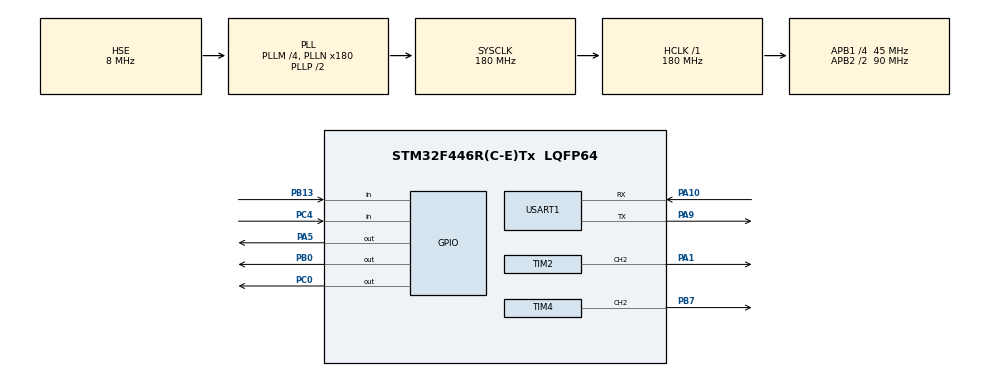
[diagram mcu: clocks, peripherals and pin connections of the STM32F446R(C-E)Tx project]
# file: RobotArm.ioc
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Mcu.Family=STM32F4
Mcu.Name=STM32F446R(C-E)Tx
Mcu.Package=LQFP64
NVIC.PriorityGroup=NVIC_PRIORITYGROUP_0
NVIC.TIM2_IRQn=true\:0\:0\:false\:false\:true\:true\:true\:true
PA1.Signal=S_TIM2_CH2
PA10.Mode=Asynchronous
PA10.Signal=USART1_RX
PA13.Mode=Serial_Wire
PA13.Signal=SYS_JTMS-SWDIO
PA14.Mode=Serial_Wire
PA14.Signal=SYS_JTCK-SWCLK
PA5.Signal=GPIO_Output
PA5.TagName=LD1
PA9.Mode=Asynchronous
PA9.Signal=USART1_TX
PB0.Signal=GPIO_Output
PB13.Signal=GPIO_Input
PB7.Signal=S_TIM4_CH2
PC0.Signal=GPIO_Output
PC4.Signal=GPIO_Input
PH0-OSC_IN.Mode=HSE-External-Clock-Source
PH0-OSC_IN.Signal=RCC_OSC_IN
PH1-OSC_OUT.Mode=HSE-External-Clock-Source
PH1-OSC_OUT.Signal=RCC_OSC_OUT
ProjectManager.HeapSize=0x200
ProjectManager.StackSize=0x400
ProjectManager.TargetToolchain=STM32CubeIDE
RCC.AHBFreq_Value=180000000
RCC.APB1CLKDivider=RCC_HCLK_DIV4
RCC.APB1Freq_Value=45000000
RCC.APB1TimFreq_Value=90000000
RCC.APB2CLKDivider=RCC_HCLK_DIV2
RCC.APB2Freq_Value=90000000
RCC.APB2TimFreq_Value=180000000
RCC.CortexFreq_Value=180000000
RCC.FLatency-AdvancedSettings=FLASH_LATENCY_5
RCC.HCLKFreq_Value=180000000
RCC.HSE_VALUE=8000000
RCC.HSI_VALUE=16000000
RCC.LSE_VALUE=32768
RCC.PLLM=4
RCC.PLLN=180
RCC.PLLSourceVirtual=RCC_PLLSOURCE_HSE
RCC.SYSCLKFreq_VALUE=180000000
RCC.SYSCLKSource=RCC_SYSCLKSOURCE_PLLCLK
RCC.USBFreq_Value=180000000
RCC.VCOOutputFreq_Value=360000000
SH.S_TIM2_CH2.0=TIM2_CH2,PWM Generation2 CH2
SH.S_TIM4_CH2.0=TIM4_CH2,PWM Generation2 CH2
TIM2.Channel-PWM\ Generation2\ CH2=TIM_CHANNEL_2
TIM2.Period=1000-1
TIM2.Prescaler=90-1
TIM2.Pulse-PWM\ Generation2\ CH2=50
TIM2.TIM_MasterOutputTrigger=TIM_TRGO_UPDATE
TIM2.TIM_MasterSlaveMode=TIM_MASTERSLAVEMODE_ENABLE
TIM4.Channel-PWM\ Generation2\ CH2=TIM_CHANNEL_2
TIM4.Period=9000-1
TIM4.Prescaler=200-1
USART1.VirtualMode=VM_ASYNC
VP_TIM2_VS_ClockSourceINT.Mode=Internal
VP_TIM4_VS_ClockSourceINT.Mode=Internal
VP_TIM5_VS_ClockSourceITR.Mode=TriggerSource_ITR1
VP_TIM5_VS_ControllerModeClock.Mode=Clock Mode
board=NUCLEO-F446RE

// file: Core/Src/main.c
/* USER CODE BEGIN Header */
/**
  ******************************************************************************
  * @file           : main.c
  * @brief          : Main program body
  ******************************************************************************
  * @attention
  *
  * Copyright (c) 2026 STMicroelectronics.
  * All rights reserved.
  *
  * This software is licensed under terms that can be found in the LICENSE file
  * in the root directory of this software component.
  * If no LICENSE file comes with this software, it is provided AS-IS.
  *
  ******************************************************************************
  */
/* USER CODE END Header */
#include "main.h"

/* USER CODE BEGIN Includes */
#include <math.h>
/* USER CODE END Includes */

/* USER CODE BEGIN PD */
// Hardware configuration
#define NUM_JOINTS          6
#define NUM_LIMIT_SWITCHES  6
#define NUM_HALL_SENSORS    6

// Shared EN pin
#define EN_PORT   GPIOB
#define EN_PIN    GPIO_PIN_0

// DIR/STEP pins
#define JOINT0_DIR_PORT   GPIOA             // PLACEHOLDER
#define JOINT0_DIR_PIN    GPIO_PIN_0        // PLACEHOLDER
#define JOINT0_STEP_TIM   htim5             // PLACEHOLDER - TIM3 fully used by joints 1-4
#define JOINT0_STEP_CH    TIM_CHANNEL_1     // PLACEHOLDER

#define JOINT1_DIR_PORT   GPIOA             // PLACEHOLDER (TMC5160)
#define JOINT1_DIR_PIN    GPIO_PIN_0        // PLACEHOLDER
#define JOINT1_STEP_TIM   htim3             // PLACEHOLDER - not generated in CubeMX yet
#define JOINT1_STEP_CH    TIM_CHANNEL_1     // PLACEHOLDER

#define JOINT2_DIR_PORT   GPIOA             // PLACEHOLDER
#define JOINT2_DIR_PIN    GPIO_PIN_0        // PLACEHOLDER
#define JOINT2_STEP_TIM   htim3             // PLACEHOLDER
#define JOINT2_STEP_CH    TIM_CHANNEL_2     // PLACEHOLDER

#define JOINT3_DIR_PORT   GPIOA             // PLACEHOLDER
#define JOINT3_DIR_PIN    GPIO_PIN_0        // PLACEHOLDER
#define JOINT3_STEP_TIM   htim3             // PLACEHOLDER
#define JOINT3_STEP_CH    TIM_CHANNEL_3     // PLACEHOLDER

#define JOINT4_DIR_PORT   GPIOA             // PLACEHOLDER
#define JOINT4_DIR_PIN    GPIO_PIN_0        // PLACEHOLDER
#define JOINT4_STEP_TIM   htim3             // PLACEHOLDER
#define JOINT4_STEP_CH    TIM_CHANNEL_4     // PLACEHOLDER

#define JOINT5_DIR_PORT   GPIOC
#define JOINT5_DIR_PIN    GPIO_PIN_0
#define JOINT5_STEP_TIM   htim2
#define JOINT5_STEP_CH    TIM_CHANNEL_2

// UART for TMC2209
#define TMC_UART1_TX_PORT  GPIOA
#define TMC_UART1_TX_PIN   GPIO_PIN_9
#define TMC_UART1_RX_PORT  GPIOA
#define TMC_UART1_RX_PIN   GPIO_PIN_10

#define TMC_UART2_TX_PORT  GPIOA            // PLACEHOLDER - not generated in CubeMX yet
#define TMC_UART2_TX_PIN   GPIO_PIN_0       // PLACEHOLDER
#define TMC_UART2_RX_PORT  GPIOA            // PLACEHOLDER
#define TMC_UART2_RX_PIN   GPIO_PIN_0       // PLACEHOLDER

// UART Bus and Slave Addresses
#define JOINT0_UART_BUS     2
#define JOINT0_SLAVE_ADDR   0

#define JOINT2_UART_BUS     1                // PLACEHOLDER
#define JOINT2_SLAVE_ADDR   0                // PLACEHOLDER

#define JOINT3_UART_BUS     1                // PLACEHOLDER
#define JOINT3_SLAVE_ADDR   1                // PLACEHOLDER

#define JOINT4_UART_BUS     1                // PLACEHOLDER
#define JOINT4_SLAVE_ADDR   2                // PLACEHOLDER

#define JOINT5_UART_BUS     1                // PLACEHOLDER
#define JOINT5_SLAVE_ADDR   3                // PLACEHOLDER

// SPI for TMC5160
#define TMC5160_SPI_MOSI_PORT  GPIOA        // PLACEHOLDER - not generated in CubeMX yet
#define TMC5160_SPI_MOSI_PIN   GPIO_PIN_0   // PLACEHOLDER
#define TMC5160_SPI_MISO_PORT  GPIOA        // PLACEHOLDER
#define TMC5160_SPI_MISO_PIN   GPIO_PIN_0   // PLACEHOLDER
#define TMC5160_SPI_SCK_PORT   GPIOA        // PLACEHOLDER
#define TMC5160_SPI_SCK_PIN    GPIO_PIN_0   // PLACEHOLDER
#define TMC5160_SPI_CS_PORT    GPIOA        // PLACEHOLDER
#define TMC5160_SPI_CS_PIN     GPIO_PIN_0   // PLACEHOLDER

// Run current per joint
#define JOINT0_CURRENT_A    1.2f             // CONFIRMED
#define JOINT1_CURRENT_A    1.2f             // PLACEHOLDER (TMC5160)
#define JOINT2_CURRENT_A    1.2f             // PLACEHOLDER
#define JOINT3_CURRENT_A    1.2f             // PLACEHOLDER
#define JOINT4_CURRENT_A    1.2f             // PLACEHOLDER
#define JOINT5_CURRENT_A    1.2f             // PLACEHOLDER

// Interrupt
// Each of these 6 needs a distinct pin NUMBER (0-15), not just a distinct
// port, or they'll collide on the same interrupt line.
#define JOINT1_LIMIT_MIN_PORT   GPIOA        // PLACEHOLDER
#define JOINT1_LIMIT_MIN_PIN    GPIO_PIN_0   // PLACEHOLDER
#define JOINT1_LIMIT_MAX_PORT   GPIOA        // PLACEHOLDER
#define JOINT1_LIMIT_MAX_PIN    GPIO_PIN_0   // PLACEHOLDER

#define JOINT2_LIMIT_MIN_PORT   GPIOA        // PLACEHOLDER
#define JOINT2_LIMIT_MIN_PIN    GPIO_PIN_0   // PLACEHOLDER
#define JOINT2_LIMIT_MAX_PORT   GPIOA        // PLACEHOLDER
#define JOINT2_LIMIT_MAX_PIN    GPIO_PIN_0   // PLACEHOLDER

#define JOINT4_LIMIT_MIN_PORT   GPIOA        // PLACEHOLDER
#define JOINT4_LIMIT_MIN_PIN    GPIO_PIN_0   // PLACEHOLDER
#define JOINT4_LIMIT_MAX_PORT   GPIOC        // your previously-tested pin (PC4) is one
#define JOINT4_LIMIT_MAX_PIN    GPIO_PIN_4   // of these six - slot it into whichever end it actually is

// Hall effect sensors
#define JOINT0_HALL_PORT   GPIOA             // PLACEHOLDER
#define JOINT0_HALL_PIN    GPIO_PIN_0        // PLACEHOLDER
#define JOINT1_HALL_PORT   GPIOA             // PLACEHOLDER
#define JOINT1_HALL_PIN    GPIO_PIN_0        // PLACEHOLDER
#define JOINT2_HALL_PORT   GPIOA             // PLACEHOLDER
#define JOINT2_HALL_PIN    GPIO_PIN_0        // PLACEHOLDER
#define JOINT3_HALL_PORT   GPIOA             // PLACEHOLDER
#define JOINT3_HALL_PIN    GPIO_PIN_0        // PLACEHOLDER
#define JOINT4_HALL_PORT   GPIOA             // PLACEHOLDER
#define JOINT4_HALL_PIN    GPIO_PIN_0        // PLACEHOLDER
#define JOINT5_HALL_PORT   GPIOB             // your previously-tested pin (PB13)
#define JOINT5_HALL_PIN    GPIO_PIN_13

// Joint gear ratios
#define JOINT0_GEAR_RATIO   200.0f/30.0f
#define JOINT1_GEAR_RATIO   25.0f
#define JOINT2_GEAR_RATIO   ((16.0f*6.0f) / (14.0f*2.0f)) * ((16.0f*6.0f) / 16.0f)
#define JOINT3_GEAR_RATIO   5.5f
#define JOINT4_GEAR_RATIO   4.0f
#define JOINT5_GEAR_RATIO   1.0f

// Joint microsteps
#define JOINT0_MICROSTEPS   8
#define JOINT1_MICROSTEPS   256
#define JOINT2_MICROSTEPS   256
#define JOINT3_MICROSTEPS   256
#define JOINT4_MICROSTEPS   256
#define JOINT5_MICROSTEPS   8

// Homing config
#define HOMING_SPEED_DEG_PER_SEC   225.0f
#define JOINT0_HOMING_MAX_DEG   360.0f
#define JOINT1_HOMING_MAX_DEG   270.0f
#define JOINT2_HOMING_MAX_DEG   300.0f
#define JOINT3_HOMING_MAX_DEG   360.0f
#define JOINT4_HOMING_MAX_DEG   300.0f
#define JOINT5_HOMING_MAX_DEG   360.0f

/* USER CODE END PD */

TIM_HandleTypeDef htim2;
TIM_HandleTypeDef htim4;
TIM_HandleTypeDef htim5;

UART_HandleTypeDef huart1;

void SystemClock_Config(void);
static void MX_GPIO_Init(void);
static void MX_TIM4_Init(void);
static void MX_TIM2_Init(void);
static void MX_USART1_UART_Init(void);
static void MX_TIM5_Init(void);

/* USER CODE BEGIN 0 */
// SERVO BEGIN
void Set_Servo_Angle(TIM_HandleTypeDef *htim, uint32_t channel, uint8_t angle){
    uint32_t pulse_length = 225 + ((uint32_t)angle * (1125 - 225)) / 180;
    __HAL_TIM_SET_COMPARE(htim, channel, pulse_length);
}
// SERVO END

// JOINT STEP/DIR/EN BEGIN
#define MOTOR_FULL_STEPS_PER_REV  200.0f   // 1.8deg/step across the board for the NEMA 17s and the 23

typedef struct {
    GPIO_TypeDef      *dir_port;
    uint16_t           dir_pin;
    TIM_HandleTypeDef *step_tim;   // NULL until this joint's timer is generated in CubeMX
    uint32_t           step_ch;
    TIM_HandleTypeDef *count_tim;
    float              gear_ratio;
    uint16_t           microsteps;
    uint8_t            configured; // 1 = real hardware, 0 = placeholder (calls no-op)
} JointConfig;

static JointConfig joint_cfg[NUM_JOINTS] = {
    // Joint 0
    { JOINT0_DIR_PORT, JOINT0_DIR_PIN, NULL, JOINT0_STEP_CH, NULL,
      JOINT0_GEAR_RATIO, JOINT0_MICROSTEPS, 0 },
    // Joint 1 (TMC5160)
    { JOINT1_DIR_PORT, JOINT1_DIR_PIN, NULL, JOINT1_STEP_CH, NULL,
      JOINT1_GEAR_RATIO, JOINT1_MICROSTEPS, 0 },
    // Joint 2
    { JOINT2_DIR_PORT, JOINT2_DIR_PIN, NULL, JOINT2_STEP_CH, NULL,
      JOINT2_GEAR_RATIO, JOINT2_MICROSTEPS, 0 },
    // Joint 3
    { JOINT3_DIR_PORT, JOINT3_DIR_PIN, NULL, JOINT3_STEP_CH, NULL,
      JOINT3_GEAR_RATIO, JOINT3_MICROSTEPS, 0 },
    // Joint 4
    { JOINT4_DIR_PORT, JOINT4_DIR_PIN, NULL, JOINT4_STEP_CH, NULL,
      JOINT4_GEAR_RATIO, JOINT4_MICROSTEPS, 0 },
    { JOINT5_DIR_PORT, JOINT5_DIR_PIN, &JOINT5_STEP_TIM, JOINT5_STEP_CH, &htim5,
      JOINT5_GEAR_RATIO, JOINT5_MICROSTEPS, 1 },
};
static volatile int32_t joint_position[NUM_JOINTS] = {0};
static volatile int8_t  joint_dir_sign[NUM_JOINTS] = {0};

void Joint_Enable(uint8_t enable){
	// Active-low EN
    HAL_GPIO_WritePin(EN_PORT, EN_PIN, enable ? GPIO_PIN_RESET : GPIO_PIN_SET);
}

static void Joint_ReconcilePosition(uint8_t joint){
    if (joint_cfg[joint].count_tim == NULL){
    	return; // counting timer not generated yet
    }
    uint32_t counted = __HAL_TIM_GET_COUNTER(joint_cfg[joint].count_tim);
    joint_position[joint] += joint_dir_sign[joint] * (int32_t)counted;
    __HAL_TIM_SET_COUNTER(joint_cfg[joint].count_tim, 0);
}

int32_t Joint_GetPosition(uint8_t joint){
    if (joint >= NUM_JOINTS || joint_cfg[joint].count_tim == NULL){
    	return joint_position[joint];
    }
    uint32_t counted = __HAL_TIM_GET_COUNTER(joint_cfg[joint].count_tim);
    return joint_position[joint] + joint_dir_sign[joint] * (int32_t)counted;
}

void Joint_SetDirection(uint8_t joint, uint8_t dir){
	// REMEMBER TO GET RID OF THE !joint_cfg[joint[.configure LATER WHEN EVERYTHING IS PROPERLY CONFIGURED (waste of calcs)!!!!!!!!!!!!!!!!!!!!!!!!!!!!!!!!!!!!!!
    if (joint >= NUM_JOINTS || !joint_cfg[joint].configured){
    	return;
    }

    Joint_ReconcilePosition(joint); // fold in whatever was counted under the OLD direction first
    joint_dir_sign[joint] = dir ? 1 : -1;
    HAL_GPIO_WritePin(joint_cfg[joint].dir_port, joint_cfg[joint].dir_pin, dir ? GPIO_PIN_SET : GPIO_PIN_RESET);
}

void Joint_Run(uint8_t joint, uint8_t run){
    if (joint >= NUM_JOINTS || !joint_cfg[joint].configured){
    	return;
    }

    if (run){
    	HAL_TIM_PWM_Start(joint_cfg[joint].step_tim, joint_cfg[joint].step_ch);
    } else{
    	Joint_ReconcilePosition(joint); // fold in this run's steps before stopping
    	HAL_TIM_PWM_Stop(joint_cfg[joint].step_tim, joint_cfg[joint].step_ch);
    }
}

// Sets STEP pulse frequency directly.
void Joint_SetStepFrequency(uint8_t joint, uint32_t step_freq_hz){
    if (joint >= NUM_JOINTS || !joint_cfg[joint].configured || step_freq_hz == 0){
    	return;
    }

    uint32_t period = (1000000U / step_freq_hz);
    if (period < 2){
    	period = 2; // keep a valid duty cycle
    }

    __HAL_TIM_SET_AUTORELOAD(joint_cfg[joint].step_tim, period - 1);
    __HAL_TIM_SET_COMPARE(joint_cfg[joint].step_tim, joint_cfg[joint].step_ch, period / 2);
}

// Drives a joint at a given OUTPUT SHAFT speed (deg/s, sign sets direction)
void Joint_MoveAtSpeed(uint8_t joint, float output_deg_per_sec){
    if (joint >= NUM_JOINTS || !joint_cfg[joint].configured){
    	return;
    }

    // Stop the joint
    if (output_deg_per_sec == 0.0f){
        Joint_Run(joint, 0);
        return;
    }

    // Joint specific speed
    float steps_per_output_rev = MOTOR_FULL_STEPS_PER_REV * (float)joint_cfg[joint].microsteps * joint_cfg[joint].gear_ratio;
    float output_rev_per_sec = fabsf(output_deg_per_sec) / 360.0f;
    uint32_t step_freq_hz = (uint32_t)(output_rev_per_sec * steps_per_output_rev);

    Joint_SetDirection(joint, output_deg_per_sec > 0 ? 1 : 0);
    Joint_SetStepFrequency(joint, step_freq_hz);
    Joint_Run(joint, 1);
}
// JOINT STEP/DIR/EN END

// LIMIT SWITCHES START

static volatile uint8_t joint_limit_hit[NUM_JOINTS] = {0};
static volatile uint8_t homing_in_progress = 0; // suppresses fault-event reporting during homing search

// Simple event queue for the host. TODO: once the serial command protocol exists,
// drain this from the main loop (or a serial task) and send a LIMIT_HIT packet for
// each entry - for now this just records the fact so nothing is silently lost.
typedef struct {
    uint8_t joint;
    uint8_t which; // 0 = MIN switch, 1 = MAX switch
} LimitEvent_t;

#define LIMIT_EVENT_QUEUE_LEN 8
static LimitEvent_t limit_event_queue[LIMIT_EVENT_QUEUE_LEN];
static volatile uint8_t limit_event_head = 0, limit_event_tail = 0;

static void LimitEvent_Enqueue(uint8_t joint, uint8_t which){
    uint8_t next = (limit_event_head + 1) % LIMIT_EVENT_QUEUE_LEN;
    if (next == limit_event_tail){
    	return; // full - drop rather than overwrite (shouldn't happen in practice)
    }
    limit_event_queue[limit_event_head].joint = joint;
    limit_event_queue[limit_event_head].which = which;
    limit_event_head = next;
}

void HAL_GPIO_EXTI_Callback(uint16_t GPIO_Pin){
    static const struct { uint16_t pin; uint8_t joint; uint8_t which; } limit_map[] = {
        { JOINT1_LIMIT_MIN_PIN, 1, 0 },
        { JOINT1_LIMIT_MAX_PIN, 1, 1 },
        { JOINT2_LIMIT_MIN_PIN, 2, 0 },
        { JOINT2_LIMIT_MAX_PIN, 2, 1 },
        { JOINT4_LIMIT_MIN_PIN, 4, 0 },
        { JOINT4_LIMIT_MAX_PIN, 4, 1 },
    };

    for (uint8_t i = 0; i < sizeof(limit_map) / sizeof(limit_map[0]); i++){
        if (limit_map[i].pin == GPIO_Pin){
            uint8_t joint = limit_map[i].joint;
            Joint_Run(joint, 0); // stop immediately, homing or not
            joint_limit_hit[joint] = 1;

            if (!homing_in_progress){
                LimitEvent_Enqueue(joint, limit_map[i].which); // unexpected - flag for the host, don't auto-recover
            }
            return;
        }
    }
}
// LIMIT SWITCHES END

// HOMING START
static GPIO_TypeDef *joint_hall_port[NUM_JOINTS] = {
    JOINT0_HALL_PORT, JOINT1_HALL_PORT, JOINT2_HALL_PORT,
    JOINT3_HALL_PORT, JOINT4_HALL_PORT, JOINT5_HALL_PORT
};
static uint16_t joint_hall_pin[NUM_JOINTS] = {
    JOINT0_HALL_PIN, JOINT1_HALL_PIN, JOINT2_HALL_PIN,
    JOINT3_HALL_PIN, JOINT4_HALL_PIN, JOINT5_HALL_PIN
};
static const float joint_homing_max_deg[NUM_JOINTS] = {
    JOINT0_HOMING_MAX_DEG, JOINT1_HOMING_MAX_DEG, JOINT2_HOMING_MAX_DEG,
    JOINT3_HOMING_MAX_DEG, JOINT4_HOMING_MAX_DEG, JOINT5_HOMING_MAX_DEG
};

static uint32_t Joint_DegToSteps(uint8_t joint, float deg){
    float steps_per_output_rev = MOTOR_FULL_STEPS_PER_REV
                                * (float)joint_cfg[joint].microsteps
                                * joint_cfg[joint].gear_ratio;
    return (uint32_t)(fabsf(deg) / 360.0f * steps_per_output_rev);
}

// Converts an OUTPUT-SHAFT speed (deg/s) into that joint's own raw STEP frequency,
// accounting for its individual gear ratio and microsteps - same formula
// Joint_MoveAtSpeed uses, so every joint moves at a comparable real-world speed
// for a given deg/s target regardless of how different their gear ratios are.
static uint32_t Joint_SpeedToFreq(uint8_t joint, float deg_per_sec){
    float steps_per_output_rev = MOTOR_FULL_STEPS_PER_REV
                                * (float)joint_cfg[joint].microsteps
                                * joint_cfg[joint].gear_ratio;
    return (uint32_t)(fabsf(deg_per_sec) / 360.0f * steps_per_output_rev);
}

// Quick ramp-down before stopping - NOT a full trapezoidal profile (that's
// deferred, separate work), just enough to avoid an instantaneous full-speed
// cut, which was leaving real kinetic energy in the rotor to snap/ring back
// against the driver's holding torque. Doesn't affect homing accuracy at all -
// this only runs AFTER the magnet's midpoint has already been captured.
static void Joint_DecelStop(uint8_t joint, uint32_t from_freq){
    // Shorter dwell per stage than before (2ms vs 20ms) - the previous version
    // likely lingered long enough at one intermediate speed to sit right in the
    // ~300Hz resonance band and build up vibration there instead of avoiding it.
    // A fast sweep-through spends far less time at any one frequency.
    uint32_t freq = from_freq;
    for (uint8_t i = 0; i < 8 && freq > 50; i++){
        freq = (freq * 3) / 4; // smaller, more numerous steps than before
        Joint_SetStepFrequency(joint, freq);
        HAL_Delay(2);
    }
    Joint_Run(joint, 0);
}

void Joint_MoveToPosition(uint8_t joint, int32_t target_pos, float speed_deg_per_sec){
    if (joint >= NUM_JOINTS || !joint_cfg[joint].configured) return;

    int32_t current = Joint_GetPosition(joint);
    int32_t delta = target_pos - current;
    if (delta == 0) return;

    uint8_t dir = (delta > 0) ? 1 : 0;
    uint32_t freq = Joint_SpeedToFreq(joint, speed_deg_per_sec);

    Joint_SetDirection(joint, dir);
    Joint_SetStepFrequency(joint, freq);
    Joint_Run(joint, 1);

    while (1){
        if (joint_limit_hit[joint]){
            joint_limit_hit[joint] = 0;
            Joint_Run(joint, 0);
            return; // stopped early - hit a limit before reaching target
        }
        int32_t remaining = target_pos - Joint_GetPosition(joint);
        if ((dir == 1 && remaining <= 0) || (dir == 0 && remaining >= 0)){
            break; // reached or passed target
        }
    }
    Joint_DecelStop(joint, freq);
}

uint8_t Homing_Joint(uint8_t joint, int8_t search_dir){
    if (joint >= NUM_JOINTS || !joint_cfg[joint].configured){
    	return 0;
    }

    // Hall reading is corrupted by heavy motor-generated EMI (measured ~200k
    // spurious transitions/sec while running) - a rolling vote/integrator filter
    // is used instead of a simple "hold steady for Xms" debounce, since even
    // genuine magnet-present dwell time still has some noise mixed in, and that
    // residual noise kept resetting a plain debounce timer before it could ever
    // confirm. Every sample nudges a counter toward whichever state it reads;
    // only trust a state once the counter has swung decisively that way (a
    // hysteresis band between HIGH/LOW avoids chatter right at the boundary).
    // This resolves in well under a millisecond given how fast this loop runs,
    // so it isn't sensitive to step frequency the way a fixed-time debounce was -
    // PLACEHOLDERS below, widen the MAX/spread for more noise immunity if needed.
    #define HALL_FILTER_MAX   200
    #define HALL_FILTER_HIGH  180
    #define HALL_FILTER_LOW   20

    uint32_t max_steps = Joint_DegToSteps(joint, joint_homing_max_deg[joint]);
    uint32_t homing_freq = Joint_SpeedToFreq(joint, HOMING_SPEED_DEG_PER_SEC);
    joint_limit_hit[joint] = 0;
    homing_in_progress = 1;

    int8_t dir = search_dir;

    for (uint8_t attempt = 0; attempt < 2; attempt++){
        int32_t start_pos = Joint_GetPosition(joint);

        // seed the filter from an initial read so we don't register a spurious
        // "just found it" transition right at the start of the search
        uint8_t initial_read = HAL_GPIO_ReadPin(joint_hall_port[joint], joint_hall_pin[joint]);
        int32_t hall_filter = (initial_read == GPIO_PIN_RESET) ? HALL_FILTER_MAX : 0;
        uint8_t hall_confirmed_present = (initial_read == GPIO_PIN_RESET) ? 1 : 0;
        uint8_t hall_prev_confirmed = hall_confirmed_present;

        int32_t rise_pos = 0, fall_pos = 0;
        uint8_t saw_rise = 0, saw_fall = 0;

        Joint_SetDirection(joint, dir > 0 ? 1 : 0);
        Joint_SetStepFrequency(joint, homing_freq);
        Joint_Run(joint, 1);

        while (1){
            if (joint_limit_hit[joint]){
                joint_limit_hit[joint] = 0;
                break; // hit a limit before finding the magnet on this pass
            }

            // GPIO_PIN_RESET = magnet present - each sample nudges the vote counter
            uint8_t hall_now = HAL_GPIO_ReadPin(joint_hall_port[joint], joint_hall_pin[joint]);
            if (hall_now == GPIO_PIN_RESET){
                if (hall_filter < HALL_FILTER_MAX) hall_filter++;
            } else {
                if (hall_filter > 0) hall_filter--;
            }

            if (hall_filter >= HALL_FILTER_HIGH) hall_confirmed_present = 1;
            else if (hall_filter <= HALL_FILTER_LOW) hall_confirmed_present = 0;
            // else: stays whatever it was last - genuinely undecided zone

            if (hall_confirmed_present != hall_prev_confirmed){
                if (!saw_rise && hall_confirmed_present){
                    rise_pos = Joint_GetPosition(joint);
                    saw_rise = 1;
                } else if (saw_rise && !saw_fall && !hall_confirmed_present){
                    fall_pos = Joint_GetPosition(joint);
                    saw_fall = 1;
                    Joint_DecelStop(joint, homing_freq); // gentle stop instead of an instant cut
                    hall_prev_confirmed = hall_confirmed_present;
                    break; // found both edges
                }
                hall_prev_confirmed = hall_confirmed_present;
            }

            int32_t traveled = Joint_GetPosition(joint) - start_pos;
            if ((uint32_t)(traveled < 0 ? -traveled : traveled) > max_steps){
                Joint_Run(joint, 0);
                homing_in_progress = 0;
                return 0; // no magnet found within the expected travel range - real fault
            }
        }

        if (saw_fall){
            int32_t midpoint = (rise_pos + fall_pos) / 2;
            joint_position[joint] -= midpoint; // Joint_Run(joint,0) above already reconciled the
                                                // hardware count into joint_position, so this is
                                                // a plain baseline shift, not a live read
            homing_in_progress = 0;
            return 1;
        }

        dir = -dir; // limit hit before the magnet - try the opposite direction once
    }

    homing_in_progress = 0;
    return 0; // searched both directions, never found the magnet
}

static int32_t Joint_DegToSignedSteps(uint8_t joint, float deg){
    float steps_per_output_rev = MOTOR_FULL_STEPS_PER_REV
                                * (float)joint_cfg[joint].microsteps
                                * joint_cfg[joint].gear_ratio;
    return (int32_t)(deg / 360.0f * steps_per_output_rev);
}

// Homing order and initial search direction per joint.
static const uint8_t homing_order[NUM_JOINTS]      = {0, 1, 2, 3, 4, 5};
static const int8_t  homing_search_dir[NUM_JOINTS] = {1, 1, 1, 1, 1, 1};
static const float homing_clearance_deg[NUM_JOINTS] = {0, 0, 0, 0, 0, 0};

// Ready/idle stance to move to once every joint is homed, in output-shaft degrees
// from each joint's now-zeroed home position.
static const float idle_stance_deg[NUM_JOINTS] = {0, 0, 0, 0, 0, 0};

uint8_t Robot_HomeAll(void){
    for (uint8_t i = 0; i < NUM_JOINTS; i++){
        uint8_t joint = homing_order[i];
        if (!joint_cfg[joint].configured){
        	continue;
        }

        if (!Homing_Joint(joint, homing_search_dir[joint])){
            return 0; // one joint failed - stop the whole sequence rather than guess
        }

        if (homing_clearance_deg[joint] != 0.0f){
            int32_t clearance_target = Joint_DegToSignedSteps(joint, homing_clearance_deg[joint]);
            Joint_MoveToPosition(joint, clearance_target, HOMING_SPEED_DEG_PER_SEC);
        }
    }

    // All joints homed and clear of each other - now move everyone to the final stance
    for (uint8_t j = 0; j < NUM_JOINTS; j++){
        if (!joint_cfg[j].configured || idle_stance_deg[j] == 0.0f){
        	continue;
        }
        int32_t idle_target = Joint_DegToSignedSteps(j, idle_stance_deg[j]);
        Joint_MoveToPosition(j, idle_target, HOMING_SPEED_DEG_PER_SEC);
    }

    return 1;
}
// HOMING END

// TMC2209 UART
static UART_HandleTypeDef *tmc_uart_bus[3] = { NULL, &huart1, NULL }; // [1]=bus1, [2]=bus2, [0] unused
#define TMC_RSENSE      0.11f
#define TMC_VSENSE_BIT  0        // 0 = Vfs 0.325V (normal), 1 = Vfs 0.180V (more res, less headroom)

#define TMC_REG_GCONF      0x00
#define TMC_REG_IHOLD_IRUN 0x10
#define TMC_REG_CHOPCONF   0x6C

typedef struct {
    uint8_t bus;         // 1 or 2 (index into tmc_uart_bus), 0 = not UART-driven (TMC5160)
    uint8_t slave_addr;  // 0-3, set via that driver's MS1/MS2
    float   current_a;
    uint8_t configured;  // 1 = physically wired right now, DELETE THIS LATER ON ASWELLL!!!!!!!!!!!!!!!!!!!!!!!!!!!!!!!!!!!!!!!!!!!!!!!!!
} TMC2209_JointConfig;

static TMC2209_JointConfig tmc2209_cfg[NUM_JOINTS] = {
    { JOINT0_UART_BUS, JOINT0_SLAVE_ADDR, JOINT0_CURRENT_A, 0 },
    { 0,               0,                 JOINT1_CURRENT_A, 0 }, // joint 1 = TMC5160, not UART
    { JOINT2_UART_BUS, JOINT2_SLAVE_ADDR, JOINT2_CURRENT_A, 0 },
    { JOINT3_UART_BUS, JOINT3_SLAVE_ADDR, JOINT3_CURRENT_A, 0 },
    { JOINT4_UART_BUS, JOINT4_SLAVE_ADDR, JOINT4_CURRENT_A, 0 },
    { JOINT5_UART_BUS, JOINT5_SLAVE_ADDR, JOINT5_CURRENT_A, 1 }, // CONFIRMED - testing this joint now
};

static uint8_t TMC_CalcCRC(uint8_t *datagram, uint8_t len){
    uint8_t crc = 0;
    for (uint8_t i = 0; i < len; i++){
        uint8_t currentByte = datagram[i];
        for (uint8_t j = 0; j < 8; j++){
            if ((crc >> 7) ^ (currentByte & 0x01))
                crc = (uint8_t)((crc << 1) ^ 0x07);
            else
                crc = (uint8_t)(crc << 1);
            currentByte >>= 1;
        }
    }
    return crc;
}

static HAL_StatusTypeDef TMC_ReceiveByte(UART_HandleTypeDef *huart, uint8_t *byte, uint32_t timeout_ms){
    uint32_t start = HAL_GetTick();
    while (!__HAL_UART_GET_FLAG(huart, UART_FLAG_RXNE)){
        if ((HAL_GetTick() - start) > timeout_ms){
        	return HAL_TIMEOUT;
        }
    }
    *byte = (uint8_t)(huart->Instance->DR);
    return HAL_OK;
}

static HAL_StatusTypeDef TMC_ReceiveBytes(UART_HandleTypeDef *huart, uint8_t *buf, uint16_t len, uint32_t timeout_ms){
    for (uint16_t i = 0; i < len; i++){
        if (TMC_ReceiveByte(huart, &buf[i], timeout_ms) != HAL_OK) return HAL_TIMEOUT;
    }
    return HAL_OK;
}

// Builds and sends the 8-byte write datagram: sync, addr, reg|write, 4 data bytes MSB-first, crc
static void TMC_WriteRegister(UART_HandleTypeDef *huart, uint8_t addr, uint8_t reg, uint32_t data){
    uint8_t datagram[8];
    datagram[0] = 0x05; // sync byte
    datagram[1] = addr;
    datagram[2] = reg | 0x80; // write bit set
    datagram[3] = (uint8_t)(data >> 24);
    datagram[4] = (uint8_t)(data >> 16);
    datagram[5] = (uint8_t)(data >> 8);
    datagram[6] = (uint8_t)(data);
    datagram[7] = TMC_CalcCRC(datagram, 7);

    HAL_UART_Transmit(huart, datagram, 8, 10);
    // this 8-byte datagram echoes back on RX since TX/RX are tied together -
    // flush it before reading the driver's actual reply (see TMC_ReadRegister)
    uint8_t echo[8];
    TMC_ReceiveBytes(huart, echo, 8, 50);
}

// Reads a register back so you can VERIFY a write actually took effect.
// Returns 1 on success (valid reply + good CRC) and fills *data_out.
static uint8_t TMC_ReadRegister(UART_HandleTypeDef *huart, uint8_t addr, uint8_t reg, uint32_t *data_out){
    uint8_t request[4];
    request[0] = 0x05;
    request[1] = addr;
    request[2] = reg & 0x7F; // read bit clear
    request[3] = TMC_CalcCRC(request, 3);

    uint8_t echo[4];
    HAL_UART_Transmit(huart, request, 4, 10);
    TMC_ReceiveBytes(huart, echo, 4, 50); // flush the 4-byte echo of our own request

    uint8_t reply[8];
    if (TMC_ReceiveBytes(huart, reply, 8, 50) != HAL_OK)
        return 0; // timed out - no reply came back (check wiring/resistor/baud)

    if (TMC_CalcCRC(reply, 7) != reply[7])
        return 0; // CRC mismatch - reply is corrupted, don't trust it

    *data_out = ((uint32_t)reply[3] << 24) | ((uint32_t)reply[4] << 16)
              | ((uint32_t)reply[5] << 8)  | (uint32_t)reply[6];
    return 1;
}

// Converts a desired RMS run current (amps) into the 5-bit IRUN current-scale value (0-31)
static uint8_t TMC_CurrentToCS(float irun_amps){
    float vfs = TMC_VSENSE_BIT ? 0.180f : 0.325f;
    float cs = (irun_amps * 32.0f * 1.41421356f * (TMC_RSENSE + 0.02f) / vfs) - 1.0f;
    if (cs < 0) cs = 0;
    if (cs > 31) cs = 31;
    return (uint8_t)(cs + 0.5f);
}

// Configures one TMC2209 joint over UART: SpreadCycle, finest microstepping, run current.
void TMC2209_ConfigJoint(uint8_t joint){
    if (joint >= NUM_JOINTS || !tmc2209_cfg[joint].configured) return;
    UART_HandleTypeDef *huart = tmc_uart_bus[tmc2209_cfg[joint].bus];
    if (huart == NULL) return; // that bus isn't wired/generated yet
    uint8_t addr = tmc2209_cfg[joint].slave_addr;

    // GCONF: pdn_disable=1 (required for UART control), mstep_reg_select=1
    // (CHOPCONF.MRES sets microstepping, overriding the MS1/MS2 pins),
    // en_spreadcycle=1 -> SpreadCycle (robot arm: better torque/accuracy under
    // load and less chance of missed steps than StealthChop, at the cost of noise)
    uint32_t gconf = (1UL << 6) | (1UL << 7) | (1UL << 2);
    TMC_WriteRegister(huart, addr, TMC_REG_GCONF, gconf);

    // CHOPCONF: MRES=0000 -> 1/256 microstepping (finest), INTPOL=1 (interpolate
    // to 256 steps internally for smoothness), plus standard chopper timing bits
    uint32_t toff = 3, hstrt = 5, hend = 2, tbl = 2, mres = 0, intpol = 1;
    uint32_t chopconf = (toff << 0) | (hstrt << 4) | (hend << 7) | (tbl << 15)
                       | ((uint32_t)TMC_VSENSE_BIT << 17) | (mres << 24) | (intpol << 28);
    TMC_WriteRegister(huart, addr, TMC_REG_CHOPCONF, chopconf);

    // IHOLD_IRUN: run current from that joint's config, hold current = 50% of run
    uint8_t irun_cs  = TMC_CurrentToCS(tmc2209_cfg[joint].current_a);
    uint8_t ihold_cs = TMC_CurrentToCS(tmc2209_cfg[joint].current_a * 0.5f);
    uint32_t ihold_irun = ((uint32_t)ihold_cs << 0) | ((uint32_t)irun_cs << 8) | (4UL << 16); // IHOLDDELAY=4
    TMC_WriteRegister(huart, addr, TMC_REG_IHOLD_IRUN, ihold_irun);
}

// Reads CHOPCONF/GCONF back and checks MRES/en_spreadcycle actually match what we wrote.
uint8_t TMC2209_VerifyJoint(uint8_t joint){
    if (joint >= NUM_JOINTS || !tmc2209_cfg[joint].configured) return 0;
    UART_HandleTypeDef *huart = tmc_uart_bus[tmc2209_cfg[joint].bus];
    if (huart == NULL) return 0;
    uint8_t addr = tmc2209_cfg[joint].slave_addr;

    uint32_t chopconf = 0, gconf = 0;
    if (!TMC_ReadRegister(huart, addr, TMC_REG_CHOPCONF, &chopconf)) return 0;
    if (!TMC_ReadRegister(huart, addr, TMC_REG_GCONF, &gconf)) return 0;

    uint32_t mres = (chopconf >> 24) & 0x0F;
    uint32_t en_spreadcycle = (gconf >> 2) & 0x01;
    return (mres == 0) && (en_spreadcycle == 1);
}

// TMC5160 SPI
// TMC5160 uses a 5-byte (40-bit) datagram: [addr|RW][data3][data2][data1][data0].
// Reads are delayed by one transaction on this chip - the data you want comes back
// on the NEXT transfer, not the one that requested it - see TMC5160_ReadRegister.
// NOTE: won't compile until you add an SPI peripheral in CubeMX - SPI_HandleTypeDef
// doesn't exist in this project until that HAL module is enabled.

#define TMC5160_REG_GCONF        0x00
#define TMC5160_REG_GLOBALSCALER 0x0B
#define TMC5160_REG_IHOLD_IRUN   0x10
#define TMC5160_REG_CHOPCONF     0x6C

//static void TMC5160_CS(GPIO_TypeDef *cs_port, uint16_t cs_pin, uint8_t active){
//    HAL_GPIO_WritePin(cs_port, cs_pin, active ? GPIO_PIN_RESET : GPIO_PIN_SET);
//}
//
//static void TMC5160_WriteRegister(SPI_HandleTypeDef *hspi, GPIO_TypeDef *cs_port, uint16_t cs_pin, uint8_t reg, uint32_t data){
//    uint8_t tx[5], rx[5];
//    tx[0] = reg | 0x80;
//    tx[1] = (uint8_t)(data >> 24);
//    tx[2] = (uint8_t)(data >> 16);
//    tx[3] = (uint8_t)(data >> 8);
//    tx[4] = (uint8_t)(data);
//
//    TMC5160_CS(cs_port, cs_pin, 1);
//    HAL_SPI_TransmitReceive(hspi, tx, rx, 5, 10);
//    TMC5160_CS(cs_port, cs_pin, 0);
//}
//
//static uint8_t TMC5160_ReadRegister(SPI_HandleTypeDef *hspi, GPIO_TypeDef *cs_port, uint16_t cs_pin, uint8_t reg, uint32_t *data_out){
//    uint8_t tx[5] = { (uint8_t)(reg & 0x7F), 0, 0, 0, 0 };
//    uint8_t rx[5];
//
//    // first transfer just requests the register - its rx data is stale/irrelevant
//    TMC5160_CS(cs_port, cs_pin, 1);
//    if (HAL_SPI_TransmitReceive(hspi, tx, rx, 5, 10) != HAL_OK) { TMC5160_CS(cs_port, cs_pin, 0); return 0; }
//    TMC5160_CS(cs_port, cs_pin, 0);
//
//    // second transfer is what actually returns the requested register's data
//    TMC5160_CS(cs_port, cs_pin, 1);
//    if (HAL_SPI_TransmitReceive(hspi, tx, rx, 5, 10) != HAL_OK) { TMC5160_CS(cs_port, cs_pin, 0); return 0; }
//    TMC5160_CS(cs_port, cs_pin, 0);
//
//    *data_out = ((uint32_t)rx[1] << 24) | ((uint32_t)rx[2] << 16)
//              | ((uint32_t)rx[3] << 8)  | (uint32_t)rx[4];
//    return 1; // rx[0] is the SPI status byte (driver flags) if you want it later
//}
//
//// Converts a desired RMS run current (amps) into IRUN (0-31), assuming GLOBALSCALER
//// stays at its default full-scale value. NOTE: this is a simplified version of the
//// TMC5160's two-stage current scaling - fine for now, revisit for finer control at
//// low currents once you're tuning this joint for real.
//static uint8_t TMC5160_CurrentToCS(float irun_amps, float rsense, uint8_t vsense_bit){
//    float vfs = vsense_bit ? 0.180f : 0.325f;
//    float cs = (irun_amps * 32.0f * 1.41421356f * (rsense + 0.02f) / vfs) - 1.0f;
//    if (cs < 0) cs = 0;
//    if (cs > 31) cs = 31;
//    return (uint8_t)(cs + 0.5f);
//}
//
//// Configures the TMC5160 joint (joint 1): SpreadCycle, finest microstepping, run current.
//void TMC5160_ConfigJoint(SPI_HandleTypeDef *hspi, float rsense_ohm, float current_a){
//    GPIO_TypeDef *cs_port = TMC5160_SPI_CS_PORT;
//    uint16_t      cs_pin  = TMC5160_SPI_CS_PIN;
//    uint8_t vsense_bit = 0;
//
//    // GCONF: en_pwm_mode=0 -> SpreadCycle. NOTE: TMC5160's GCONF bit here is the
//    // OPPOSITE polarity convention from TMC2209's en_spreadcycle bit - on the 5160,
//    // 0 = SpreadCycle, 1 = StealthChop, so SpreadCycle needs no bit set at all.
//    TMC5160_WriteRegister(hspi, cs_port, cs_pin, TMC5160_REG_GCONF, 0x00000000);
//
//    // GLOBALSCALER: 0 = full scale (256/256) - current control handled entirely via IRUN below
//    TMC5160_WriteRegister(hspi, cs_port, cs_pin, TMC5160_REG_GLOBALSCALER, 0x00000000);
//
//    // CHOPCONF: same field layout as TMC2209 - MRES=0 (1/256 microstepping), INTPOL=1
//    uint32_t toff = 3, hstrt = 5, hend = 2, tbl = 2, mres = 0, intpol = 1;
//    uint32_t chopconf = (toff << 0) | (hstrt << 4) | (hend << 7) | (tbl << 15)
//                       | ((uint32_t)vsense_bit << 17) | (mres << 24) | (intpol << 28);
//    TMC5160_WriteRegister(hspi, cs_port, cs_pin, TMC5160_REG_CHOPCONF, chopconf);
//
//    // IHOLD_IRUN: run current from current_a, hold current = 50% of run
//    uint8_t irun_cs  = TMC5160_CurrentToCS(current_a, rsense_ohm, vsense_bit);
//    uint8_t ihold_cs = TMC5160_CurrentToCS(current_a * 0.5f, rsense_ohm, vsense_bit);
//    uint32_t ihold_irun = ((uint32_t)ihold_cs << 0) | ((uint32_t)irun_cs << 8) | (4UL << 16);
//    TMC5160_WriteRegister(hspi, cs_port, cs_pin, TMC5160_REG_IHOLD_IRUN, ihold_irun);
//}
//
//// Reads CHOPCONF/GCONF back and checks the write actually landed.
//uint8_t TMC5160_VerifyJoint(SPI_HandleTypeDef *hspi){
//    GPIO_TypeDef *cs_port = TMC5160_SPI_CS_PORT;
//    uint16_t      cs_pin  = TMC5160_SPI_CS_PIN;
//
//    uint32_t chopconf = 0, gconf = 0;
//    if (!TMC5160_ReadRegister(hspi, cs_port, cs_pin, TMC5160_REG_CHOPCONF, &chopconf)) return 0;
//    if (!TMC5160_ReadRegister(hspi, cs_port, cs_pin, TMC5160_REG_GCONF, &gconf)) return 0;
//
//    uint32_t mres = (chopconf >> 24) & 0x0F;
//    uint32_t en_pwm_mode = (gconf >> 2) & 0x01;
//    return (mres == 0) && (en_pwm_mode == 0); // SpreadCycle -> en_pwm_mode should read back 0
//}

// ===================== Simple debug helper (works for either driver) =====================
// Blinks PA5 fast forever if config verification fails, so a bad link is obvious
// at a glance without needing a debugger attached.
void Driver_ConfigFailBlink(void){
    while (1)
    {
        HAL_GPIO_TogglePin(GPIOA, GPIO_PIN_5);
        HAL_Delay(100);
    }
}
// ===================== END =====================
// TMC2209 UART CONFIG END
/* USER CODE END 0 */

int main(void)
{

  /* MCU Configuration--------------------------------------------------------*/

  /* Reset of all peripherals, Initializes the Flash interface and the Systick. */
  HAL_Init();

  /* Configure the system clock */
  SystemClock_Config();

  /* Initialize all configured peripherals */
  MX_GPIO_Init();
  MX_TIM4_Init();
  MX_TIM2_Init();
  MX_USART1_UART_Init();
  MX_TIM5_Init();
  /* USER CODE BEGIN 2 */
  // SERVO BEGIN
  HAL_TIM_PWM_Start(&htim4, TIM_CHANNEL_2);
  Set_Servo_Angle(&htim4, TIM_CHANNEL_2, 0);
  //SERVO END

  TMC2209_ConfigJoint(5);
//  HAL_Delay(10);                   // let the driver settle before reading back
//  if (!TMC2209_VerifyJoint(5)){
//	Driver_ConfigFailBlink();    // config read-back failed or didn't match - PA5 blinks fast forever
//  }

//  Joint_Enable(1);
//  Joint_SetDirection(5, 1);
//  Joint_SetStepFrequency(5, 1000);
//  Joint_Run(5, 1);
//  Homing_Joint(5, 1);

  Joint_Enable(1);

  // HOMING TEST - joint 5 only, hall-only (no limit switch involved for this joint)
  uint8_t joint5_homed = Homing_Joint(5, 1);
  if (joint5_homed){
      HAL_GPIO_WritePin(GPIOA, GPIO_PIN_5, GPIO_PIN_SET); // solid ON = homing succeeded
  } else {
      Driver_ConfigFailBlink(); // fast blink forever = homing failed
  }

  /* USER CODE END 2 */

  /* Infinite loop */
  while (1)
  {

    /* USER CODE BEGIN 3 */
//	// SERVO BEGIN
//	Set_Servo_Angle(&htim4, TIM_CHANNEL_2, 0);
//	HAL_Delay(1000);
//
//	Set_Servo_Angle(&htim4, TIM_CHANNEL_2, 40);
//	HAL_Delay(1000);
//
//	Set_Servo_Angle(&htim4, TIM_CHANNEL_2, 80);
//	HAL_Delay(1000);
//	//SERVO END

//	// LIMIT SWITCH BEGIN
//	if (HAL_GPIO_ReadPin(GPIOC, GPIO_PIN_4) == GPIO_PIN_RESET){
//		HAL_GPIO_WritePin(GPIOA, GPIO_PIN_5, GPIO_PIN_SET);
//	} else{
//		HAL_GPIO_WritePin(GPIOA, GPIO_PIN_5, GPIO_PIN_RESET);
//	}
//	// LIMIT SWITCH END
//
	// HALL EFFECT BEGIN
//	if (HAL_GPIO_ReadPin(GPIOB, GPIO_PIN_13) == GPIO_PIN_RESET){
//		HAL_GPIO_WritePin(GPIOA, GPIO_PIN_5, GPIO_PIN_SET);
//	} else{
//		HAL_GPIO_WritePin(GPIOA, GPIO_PIN_5, GPIO_PIN_RESET);
//	}
	// HALL EFFECT END
  }
  /* USER CODE END 3 */
}

void SystemClock_Config(void)
{
  RCC_OscInitTypeDef RCC_OscInitStruct = {0};
  RCC_ClkInitTypeDef RCC_ClkInitStruct = {0};

  /** Configure the main internal regulator output voltage
  */
  __HAL_RCC_PWR_CLK_ENABLE();
  __HAL_PWR_VOLTAGESCALING_CONFIG(PWR_REGULATOR_VOLTAGE_SCALE1);

  /** Initializes the RCC Oscillators according to the specified parameters
  * in the RCC_OscInitTypeDef structure.
  */
  RCC_OscInitStruct.OscillatorType = RCC_OSCILLATORTYPE_HSE;
  RCC_OscInitStruct.HSEState = RCC_HSE_BYPASS;
  RCC_OscInitStruct.PLL.PLLState = RCC_PLL_ON;
  RCC_OscInitStruct.PLL.PLLSource = RCC_PLLSOURCE_HSE;
  RCC_OscInitStruct.PLL.PLLM = 4;
  RCC_OscInitStruct.PLL.PLLN = 180;
  RCC_OscInitStruct.PLL.PLLP = RCC_PLLP_DIV2;
  RCC_OscInitStruct.PLL.PLLQ = 2;
  RCC_OscInitStruct.PLL.PLLR = 2;
  if (HAL_RCC_OscConfig(&RCC_OscInitStruct) != HAL_OK)
  {
    Error_Handler();
  }

  /** Activate the Over-Drive mode
  */
  if (HAL_PWREx_EnableOverDrive() != HAL_OK)
  {
    Error_Handler();
  }

  /** Initializes the CPU, AHB and APB buses clocks
  */
  RCC_ClkInitStruct.ClockType = RCC_CLOCKTYPE_HCLK|RCC_CLOCKTYPE_SYSCLK
                              |RCC_CLOCKTYPE_PCLK1|RCC_CLOCKTYPE_PCLK2;
  RCC_ClkInitStruct.SYSCLKSource = RCC_SYSCLKSOURCE_PLLCLK;
  RCC_ClkInitStruct.AHBCLKDivider = RCC_SYSCLK_DIV1;
  RCC_ClkInitStruct.APB1CLKDivider = RCC_HCLK_DIV4;
  RCC_ClkInitStruct.APB2CLKDivider = RCC_HCLK_DIV2;

  if (HAL_RCC_ClockConfig(&RCC_ClkInitStruct, FLASH_LATENCY_5) != HAL_OK)
  {
    Error_Handler();
  }
}

static void MX_TIM2_Init(void)
{

  TIM_ClockConfigTypeDef sClockSourceConfig = {0};
  TIM_MasterConfigTypeDef sMasterConfig = {0};
  TIM_OC_InitTypeDef sConfigOC = {0};

  htim2.Instance = TIM2;
  htim2.Init.Prescaler = 90-1;
  htim2.Init.CounterMode = TIM_COUNTERMODE_UP;
  htim2.Init.Period = 1000-1;
  htim2.Init.ClockDivision = TIM_CLOCKDIVISION_DIV1;
  htim2.Init.AutoReloadPreload = TIM_AUTORELOAD_PRELOAD_DISABLE;
  if (HAL_TIM_Base_Init(&htim2) != HAL_OK)
  {
    Error_Handler();
  }
  sClockSourceConfig.ClockSource = TIM_CLOCKSOURCE_INTERNAL;
  if (HAL_TIM_ConfigClockSource(&htim2, &sClockSourceConfig) != HAL_OK)
  {
    Error_Handler();
  }
  if (HAL_TIM_PWM_Init(&htim2) != HAL_OK)
  {
    Error_Handler();
  }
  sMasterConfig.MasterOutputTrigger = TIM_TRGO_UPDATE;
  sMasterConfig.MasterSlaveMode = TIM_MASTERSLAVEMODE_ENABLE;
  if (HAL_TIMEx_MasterConfigSynchronization(&htim2, &sMasterConfig) != HAL_OK)
  {
    Error_Handler();
  }
  sConfigOC.OCMode = TIM_OCMODE_PWM1;
  sConfigOC.Pulse = 50;
  sConfigOC.OCPolarity = TIM_OCPOLARITY_HIGH;
  sConfigOC.OCFastMode = TIM_OCFAST_DISABLE;
  if (HAL_TIM_PWM_ConfigChannel(&htim2, &sConfigOC, TIM_CHANNEL_2) != HAL_OK)
  {
    Error_Handler();
  }
  HAL_TIM_MspPostInit(&htim2);

}

static void MX_TIM4_Init(void)
{

  TIM_ClockConfigTypeDef sClockSourceConfig = {0};
  TIM_MasterConfigTypeDef sMasterConfig = {0};
  TIM_OC_InitTypeDef sConfigOC = {0};

  htim4.Instance = TIM4;
  htim4.Init.Prescaler = 200-1;
  htim4.Init.CounterMode = TIM_COUNTERMODE_UP;
  htim4.Init.Period = 9000-1;
  htim4.Init.ClockDivision = TIM_CLOCKDIVISION_DIV1;
  htim4.Init.AutoReloadPreload = TIM_AUTORELOAD_PRELOAD_DISABLE;
  if (HAL_TIM_Base_Init(&htim4) != HAL_OK)
  {
    Error_Handler();
  }
  sClockSourceConfig.ClockSource = TIM_CLOCKSOURCE_INTERNAL;
  if (HAL_TIM_ConfigClockSource(&htim4, &sClockSourceConfig) != HAL_OK)
  {
    Error_Handler();
  }
  if (HAL_TIM_PWM_Init(&htim4) != HAL_OK)
  {
    Error_Handler();
  }
  sMasterConfig.MasterOutputTrigger = TIM_TRGO_RESET;
  sMasterConfig.MasterSlaveMode = TIM_MASTERSLAVEMODE_DISABLE;
  if (HAL_TIMEx_MasterConfigSynchronization(&htim4, &sMasterConfig) != HAL_OK)
  {
    Error_Handler();
  }
  sConfigOC.OCMode = TIM_OCMODE_PWM1;
  sConfigOC.Pulse = 0;
  sConfigOC.OCPolarity = TIM_OCPOLARITY_HIGH;
  sConfigOC.OCFastMode = TIM_OCFAST_DISABLE;
  if (HAL_TIM_PWM_ConfigChannel(&htim4, &sConfigOC, TIM_CHANNEL_2) != HAL_OK)
  {
    Error_Handler();
  }
  HAL_TIM_MspPostInit(&htim4);

}

static void MX_TIM5_Init(void)
{

  TIM_SlaveConfigTypeDef sSlaveConfig = {0};
  TIM_MasterConfigTypeDef sMasterConfig = {0};

  htim5.Instance = TIM5;
  htim5.Init.Prescaler = 0;
  htim5.Init.CounterMode = TIM_COUNTERMODE_UP;
  htim5.Init.Period = 4294967295;
  htim5.Init.ClockDivision = TIM_CLOCKDIVISION_DIV1;
  htim5.Init.AutoReloadPreload = TIM_AUTORELOAD_PRELOAD_DISABLE;
  if (HAL_TIM_Base_Init(&htim5) != HAL_OK)
  {
    Error_Handler();
  }
  sSlaveConfig.SlaveMode = TIM_SLAVEMODE_EXTERNAL1;
  sSlaveConfig.InputTrigger = TIM_TS_ITR1;
  if (HAL_TIM_SlaveConfigSynchro(&htim5, &sSlaveConfig) != HAL_OK)
  {
    Error_Handler();
  }
  sMasterConfig.MasterOutputTrigger = TIM_TRGO_RESET;
  sMasterConfig.MasterSlaveMode = TIM_MASTERSLAVEMODE_DISABLE;
  if (HAL_TIMEx_MasterConfigSynchronization(&htim5, &sMasterConfig) != HAL_OK)
  {
    Error_Handler();
  }

}

static void MX_USART1_UART_Init(void)
{

  huart1.Instance = USART1;
  huart1.Init.BaudRate = 115200;
  huart1.Init.WordLength = UART_WORDLENGTH_8B;
  huart1.Init.StopBits = UART_STOPBITS_1;
  huart1.Init.Parity = UART_PARITY_NONE;
  huart1.Init.Mode = UART_MODE_TX_RX;
  huart1.Init.HwFlowCtl = UART_HWCONTROL_NONE;
  huart1.Init.OverSampling = UART_OVERSAMPLING_16;
  if (HAL_UART_Init(&huart1) != HAL_OK)
  {
    Error_Handler();
  }

}

static void MX_GPIO_Init(void)
{
  GPIO_InitTypeDef GPIO_InitStruct = {0};

  /* GPIO Ports Clock Enable */
  __HAL_RCC_GPIOH_CLK_ENABLE();
  __HAL_RCC_GPIOC_CLK_ENABLE();
  __HAL_RCC_GPIOA_CLK_ENABLE();
  __HAL_RCC_GPIOB_CLK_ENABLE();

  /*Configure GPIO pin Output Level */
  HAL_GPIO_WritePin(GPIOC, GPIO_PIN_0, GPIO_PIN_RESET);

  /*Configure GPIO pin Output Level */
  HAL_GPIO_WritePin(GPIOA, GPIO_PIN_5, GPIO_PIN_RESET);

  /*Configure GPIO pin Output Level */
  HAL_GPIO_WritePin(GPIOB, GPIO_PIN_0, GPIO_PIN_RESET);

  /*Configure GPIO pin : PC0 */
  GPIO_InitStruct.Pin = GPIO_PIN_0;
  GPIO_InitStruct.Mode = GPIO_MODE_OUTPUT_PP;
  GPIO_InitStruct.Pull = GPIO_NOPULL;
  GPIO_InitStruct.Speed = GPIO_SPEED_FREQ_LOW;
  HAL_GPIO_Init(GPIOC, &GPIO_InitStruct);

  /*Configure GPIO pin : PA5 */
  GPIO_InitStruct.Pin = GPIO_PIN_5;
  GPIO_InitStruct.Mode = GPIO_MODE_OUTPUT_PP;
  GPIO_InitStruct.Pull = GPIO_NOPULL;
  GPIO_InitStruct.Speed = GPIO_SPEED_FREQ_LOW;
  HAL_GPIO_Init(GPIOA, &GPIO_InitStruct);

  /*Configure GPIO pin : PC4 */
  GPIO_InitStruct.Pin = GPIO_PIN_4;
  GPIO_InitStruct.Mode = GPIO_MODE_INPUT;
  GPIO_InitStruct.Pull = GPIO_NOPULL;
  HAL_GPIO_Init(GPIOC, &GPIO_InitStruct);

  /*Configure GPIO pin : PB0 */
  GPIO_InitStruct.Pin = GPIO_PIN_0;
  GPIO_InitStruct.Mode = GPIO_MODE_OUTPUT_PP;
  GPIO_InitStruct.Pull = GPIO_NOPULL;
  GPIO_InitStruct.Speed = GPIO_SPEED_FREQ_LOW;
  HAL_GPIO_Init(GPIOB, &GPIO_InitStruct);

  /*Configure GPIO pin : PB13 */
  GPIO_InitStruct.Pin = GPIO_PIN_13;
  GPIO_InitStruct.Mode = GPIO_MODE_INPUT;
  GPIO_InitStruct.Pull = GPIO_NOPULL;
  HAL_GPIO_Init(GPIOB, &GPIO_InitStruct);

}

void Error_Handler(void)
{
  __disable_irq();
  while (1)
  {
  }
}
